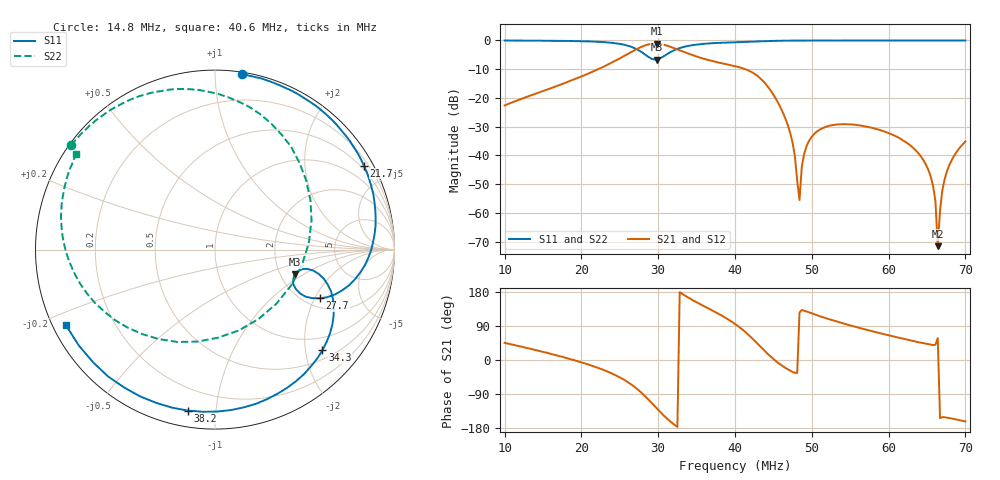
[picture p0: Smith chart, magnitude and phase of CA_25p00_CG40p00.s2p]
#  HZ  S  RI  R  50.00
! Rohde & Schwarz ZVT8 8Ports - Version 4.11 - 1300.0000k08 SN: 100242
! Date: 2026-07-31 14:30:56
! Measurements: S11 S21 S12 S22
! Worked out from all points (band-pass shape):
!   201 points, 10 MHz to 70 MHz, reference 50 ohm
!   highest |S21| = -1.10 dB at 29.8 MHz (marker M1); lowest = -71.6 dB at 66.4 MHz (marker M2)
!   |S21| within 3 dB of the highest: 26.45 MHz to 33.44 MHz (6.995 MHz wide, 23.4 % of centre)
!   lowest |S11| = -6.7 dB at 29.8 MHz (marker M3), VSWR 2.73, Z = 119 - j41.8 ohm
!   |S11| at or under -10 dB: nowhere
!   |S22| runs from -6.8 to 0.0 dB; largest |S21 - S12| = 0.0038
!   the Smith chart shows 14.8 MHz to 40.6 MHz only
!   S11 on the Smith chart (normalised r, x): 14.8 MHz: 0.01, +1.17; 21.7 MHz: 0.37, +3.77; 27.7 MHz: 2.37, -2.20; 34.3 MHz: 0.69, -2.36; 38.2 MHz: 0.08, -0.84; 40.6 MHz: 0.04, -0.24
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1e7  -0.4068 0.9098  0.052 0.0526  0.052 0.0526  -0.9175 0.3887
1.48e7  0.1528 0.9768  0.1191 0.0491  0.1191 0.0492  -0.8011 0.5806
2.02e7  0.7242 0.6398  0.2397 -0.0312  0.239 -0.031  -0.5433 0.7992
2.17e7  0.8293 0.4682  0.2813 -0.0881  0.2811 -0.0873  -0.4219 0.8547
2.77e7  0.5838 -0.2713  0.076 -0.7555  0.0758 -0.7563  0.5075 0.3875
2.98e7  0.4437 -0.1374  -0.5363 -0.6988  -0.5363 -0.6981  0.2423 -0.3867
3.01e7  0.4624 -0.1201  -0.606 -0.6306  -0.6042 -0.6299  0.1321 -0.4509
3.43e7  0.5988 -0.5604  -0.5324 0.1921  -0.5308 0.1912  -0.8191 -0.047
3.82e7  -0.1514 -0.8969  -0.1894 0.3554  -0.1882 0.3553  -0.8292 0.3789
4e7  -0.6803 -0.6269  -0.0322 0.354  -0.0319 0.3539  -0.7885 0.4986
4.06e7  -0.8297 -0.4224  0.0217 0.3389  0.0225 0.3388  -0.7728 0.5315
4.24e7  -0.8072 0.4998  0.1582 0.2185  0.1584 0.2183  -0.7306 0.6244
4.42e7  0.1604 0.9593  0.154 0.0478  0.1535 0.0481  -0.6745 0.7158
4.72e7  0.9902 -0.0544  0.0213 -0.0114  0.0212 -0.0115  -0.552 0.8302
4.84e7  0.8994 -0.421  -0.00096 0.00137  -0.000963 0.00129  -0.5022 0.8617
5.02e7  0.6239 -0.7751  -0.0119 0.0193  -0.012 0.0193  -0.429 0.9003
6.01e7  -0.7907 -0.6054  0.0102 0.0218  0.0101 0.0217  -0.0343 0.996
6.52e7  -0.9965 -0.00751  0.0041 0.00365  0.00411 0.00363  0.1672 0.9841
6.61e7  -0.9903 0.1028  0.00122 0.00103  0.00119 0.000996  0.2036 0.9758
6.64e7  -0.9879 0.1381  0.00014 0.000223  0.000151 0.00025  0.2154 0.9733
6.73e7  -0.9656 0.2454  -0.00338 -0.00186  -0.00341 -0.00187  0.2503 0.9659
7e7  -0.8369 0.5411  -0.0166 -0.00531  -0.0166 -0.00527  0.354 0.9323
